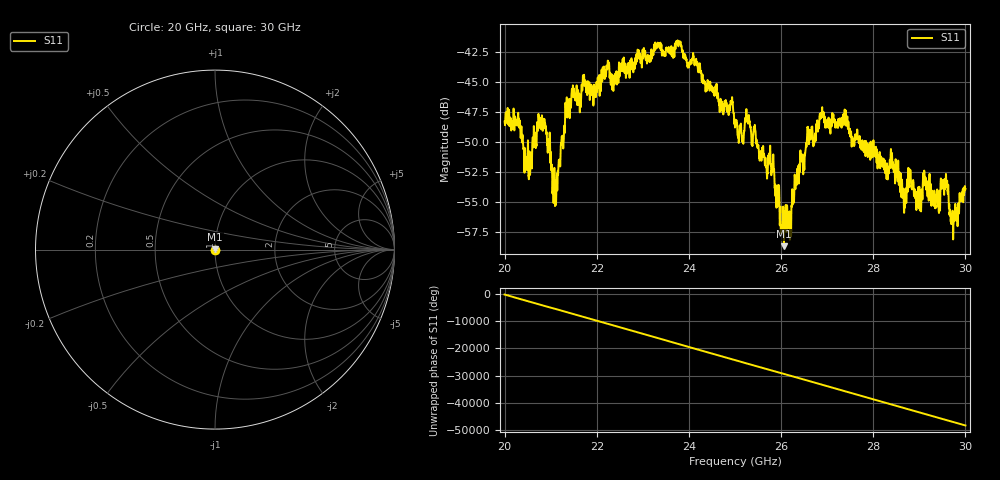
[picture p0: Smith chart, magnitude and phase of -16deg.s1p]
#  HZ  S  RI  R  50.00
! Rohde & Schwarz ZVA40 4Ports - Version 3.90 - 1145.1110k42 SN: 100403
! Date: 2023-10-03 11:28:18
! Measurement: S12
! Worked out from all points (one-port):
!   5001 points, 20 GHz to 30 GHz, reference 50 ohm
!   lowest |S11| = -58.7 dB at 26.06 GHz (marker M1), VSWR 1.00, Z = 50 + j0.114 ohm
!   |S11| at or under -10 dB: start of sweep to end of sweep
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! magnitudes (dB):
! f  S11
! 20 GHz  -48.3
! 20.29 GHz  -47.9
! 20.51 GHz  -49.9
! 20.85 GHz  -48.7
! 21.08 GHz  -52.4
! 21.25 GHz  -50.3
! 21.36 GHz  -47.7
! 21.49 GHz  -46.2
! 22.5 GHz  -43.9
! 23.75 GHz  -41.6
! 25 GHz  -48.8
! 25.16 GHz  -49.9
! 25.27 GHz  -47.9
! 25.79 GHz  -52.8
! 26.02 GHz  -57.4
! 26.06 GHz  -58.7
! 26.25 GHz  -55.2
! 26.59 GHz  -49.4
! 26.88 GHz  -48.0
! 27.5 GHz  -49.4
! 28.3 GHz  -52.1
! 28.4 GHz  -51.1
! 28.68 GHz  -55.0
! 28.75 GHz  -53.7
! 29.38 GHz  -54.3
! 29.56 GHz  -53.6
! 29.72 GHz  -55.7
! 30 GHz  -53.9
